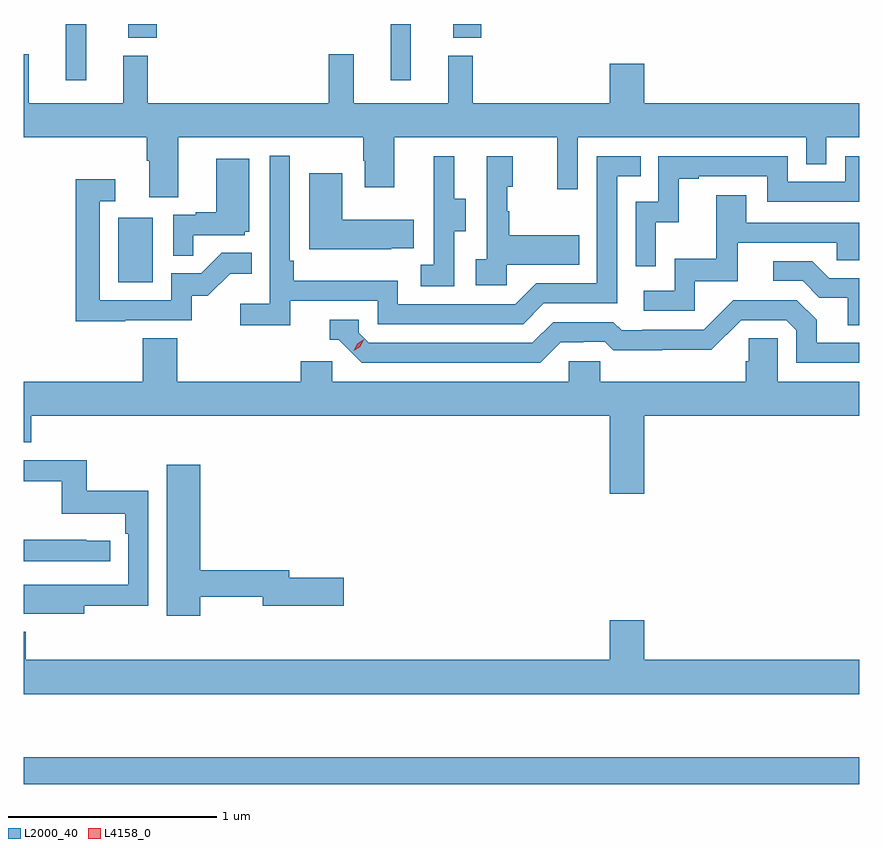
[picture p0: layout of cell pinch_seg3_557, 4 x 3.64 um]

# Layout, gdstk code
import gdstk
lib = gdstk.Library(unit=1e-6, precision=1e-09)
def R(c, l, rs):  # rectangles x0, y0, x1, y1
    for r in rs: c.add(gdstk.rectangle(r[:2], r[2:], *l))
def P(c, l, *ps):  # polygons
    for p in ps: c.add(gdstk.Polygon(p, *l))
L2000_40 = (2000, 40)
L4158_0 = (4158, 0)

pinch_seg3_557 = lib.new_cell('pinch_seg3_557')
R(pinch_seg3_557, L2000_40, [(1133.23,685.834,1137.23,685.963), (1133.684,688.236,1133.848,688.543), (1133.432,689.202,1133.529,689.471), (1134.986,689.202,1135.083,689.471), (1133.732,689.405,1133.867,689.471), (1135.286,689.405,1135.421,689.471)])
P(pinch_seg3_557, L2000_40, [(1133.971,688.928),(1134.856,688.928),(1134.856,688.817),(1134.863,688.817),(1134.863,688.689),(1135.003,688.689),(1135.003,688.928),(1135.784,688.928),(1135.784,688.68),(1135.881,688.68),(1135.881,688.928),(1136.976,688.928),(1136.976,688.801),(1137.072,688.801),(1137.072,688.928),(1137.23,688.928),(1137.23,689.092),(1136.2,689.092),(1136.2,689.281),(1136.036,689.281),(1136.036,689.092),(1135.379,689.092),(1135.379,689.32),(1135.262,689.32),(1135.262,689.092),(1134.809,689.092),(1134.809,689.326),(1134.691,689.326),(1134.691,689.092),(1133.825,689.092),(1133.825,689.32),(1133.708,689.32),(1133.708,689.092),(1133.255,689.092),(1133.255,689.326),(1133.23,689.326),(1133.23,688.928),(1133.819,688.928),(1133.819,688.816),(1133.831,688.816),(1133.831,688.642),(1133.971,688.642)],
  [(1134.506,688.146),(1134.924,688.146),(1134.924,688.035),(1135.621,688.035),(1135.72,688.134),(1136.07,688.134),(1136.07,688.743),(1136.183,688.743),(1136.183,688.839),(1135.974,688.839),(1135.974,688.23),(1135.683,688.23),(1135.584,688.131),(1135.02,688.131),(1135.02,688.243),(1134.524,688.243),(1134.524,688.339),(1134.504,688.339),(1134.504,688.84),(1134.408,688.84),(1134.408,688.132),(1134.267,688.132),(1134.267,688.03),(1134.506,688.03)],
  [(1136.256,688.523),(1136.366,688.523),(1136.366,688.731),(1136.461,688.731),(1136.461,688.743),(1136.79,688.743),(1136.79,688.62),(1137.23,688.62),(1137.23,688.839),(1137.162,688.839),(1137.162,688.716),(1136.886,688.716),(1136.886,688.839),(1136.268,688.839),(1136.268,688.62),(1136.16,688.62),(1136.16,688.311),(1136.256,688.311)],
  [(1135.29,688.48),(1135.345,688.48),(1135.345,688.635),(1135.291,688.635),(1135.291,688.837),(1135.193,688.837),(1135.193,688.623),(1135.194,688.623),(1135.194,688.319),(1135.131,688.319),(1135.131,688.216),(1135.29,688.216)],
  [(1135.542,688.319),(1135.889,688.319),(1135.889,688.459),(1135.555,688.459),(1135.555,688.574),(1135.545,688.574),(1135.545,688.692),(1135.57,688.692),(1135.57,688.837),(1135.446,688.837),(1135.446,688.346),(1135.395,688.346),(1135.395,688.221),(1135.542,688.221)],
  [(1134.041,688.461),(1134.288,688.461),(1134.288,688.476),(1134.31,688.476),(1134.31,688.825),(1134.152,688.825),(1134.152,688.57),(1134.053,688.57),(1134.053,688.557),(1133.946,688.557),(1133.946,688.363),(1134.041,688.363)],
  [(1134.989,688.397),(1135.097,688.397),(1135.097,688.534),(1134.754,688.534),(1134.754,688.756),(1134.596,688.756),(1134.596,688.394),(1134.989,688.394)],
  [(1133.717,688.053),(1134.036,688.053),(1134.036,688.17),(1134.112,688.17),(1134.219,688.277),(1134.323,688.277),(1134.323,688.376),(1134.179,688.376),(1134.081,688.278),(1133.937,688.278),(1133.937,688.149),(1133.595,688.149),(1133.595,688.623),(1133.668,688.623),(1133.668,688.729),(1133.479,688.729),(1133.479,688.048),(1133.717,688.048)],
  [(1136.442,688.239),(1136.647,688.239),(1136.647,688.425),(1137.121,688.425),(1137.121,688.341),(1137.23,688.341),(1137.23,688.521),(1136.689,688.521),(1136.689,688.651),(1136.545,688.651),(1136.545,688.348),(1136.346,688.348),(1136.346,688.194),(1136.199,688.194),(1136.199,688.098),(1136.442,688.098)],
  [(1137.23,688.254),(1137.085,688.254),(1137.004,688.335),(1136.817,688.335),(1136.817,688.242),(1136.958,688.242),(1137.038,688.162),(1137.173,688.162),(1137.173,688.03),(1137.23,688.03)],
  [(1135.801,687.948),(1135.908,687.948),(1135.908,687.951),(1136.011,687.951),(1136.053,687.909),(1136.286,687.909),(1136.286,687.911),(1136.522,687.911),(1136.664,688.053),(1136.88,688.053),(1136.928,688.005),(1136.928,687.849),(1137.23,687.849),(1137.23,687.945),(1137.025,687.945),(1137.025,688.055),(1136.931,688.149),(1136.625,688.149),(1136.484,688.008),(1136.191,688.008),(1136.191,688.005),(1136.092,688.005),(1136.053,688.044),(1135.764,688.044),(1135.665,687.945),(1134.882,687.945),(1134.834,687.993),(1134.834,688.056),(1134.695,688.056),(1134.695,687.96),(1134.738,687.96),(1134.849,687.849),(1135.702,687.849)],
  [(1136.2,687.596),(1137.23,687.596),(1137.23,687.76),(1136.838,687.76),(1136.838,687.968),(1136.701,687.968),(1136.701,687.858),(1136.687,687.858),(1136.687,687.76),(1135.989,687.76),(1135.989,687.858),(1135.839,687.858),(1135.839,687.76),(1134.708,687.76),(1134.708,687.858),(1134.557,687.858),(1134.557,687.76),(1133.966,687.76),(1133.966,687.968),(1133.801,687.968),(1133.801,687.76),(1133.23,687.76),(1133.23,687.469),(1133.267,687.469),(1133.267,687.596),(1136.036,687.596),(1136.036,687.222),(1136.2,687.222)],
  [(1133.521,686.686),(1133.826,686.686),(1133.826,687.238),(1133.533,687.238),(1133.533,687.384),(1133.23,687.384),(1133.23,687.283),(1133.412,687.283),(1133.412,687.128),(1133.717,687.128),(1133.717,687.032),(1133.73,687.032),(1133.73,686.787),(1133.417,686.787),(1133.417,686.788),(1133.23,686.788),(1133.23,686.648),(1133.521,686.648)],
  [(1134.076,686.73),(1134.374,686.73),(1134.374,686.687),(1134.763,686.687),(1134.763,686.822),(1134.502,686.822),(1134.502,686.858),(1134.076,686.858),(1134.076,687.361),(1133.915,687.361),(1133.915,686.64),(1134.076,686.64)],
  [(1133.644,686.997),(1133.531,686.997),(1133.531,687.002),(1133.23,687.002),(1133.23,686.901),(1133.644,686.901)],
  [(1137.23,686.428),(1136.2,686.428),(1136.2,686.617),(1136.036,686.617),(1136.036,686.428),(1133.24,686.428),(1133.24,686.563),(1133.23,686.563),(1133.23,686.264),(1137.23,686.264)])
P(pinch_seg3_557, L4158_0, [(1134.81,687.908),(1134.81,687.908),(1134.826,687.941),(1134.856,687.96),(1134.857,687.96),(1134.857,687.96),(1134.841,687.927),(1134.81,687.908)])

lib.write_gds('pinch_seg3_557.gds')
